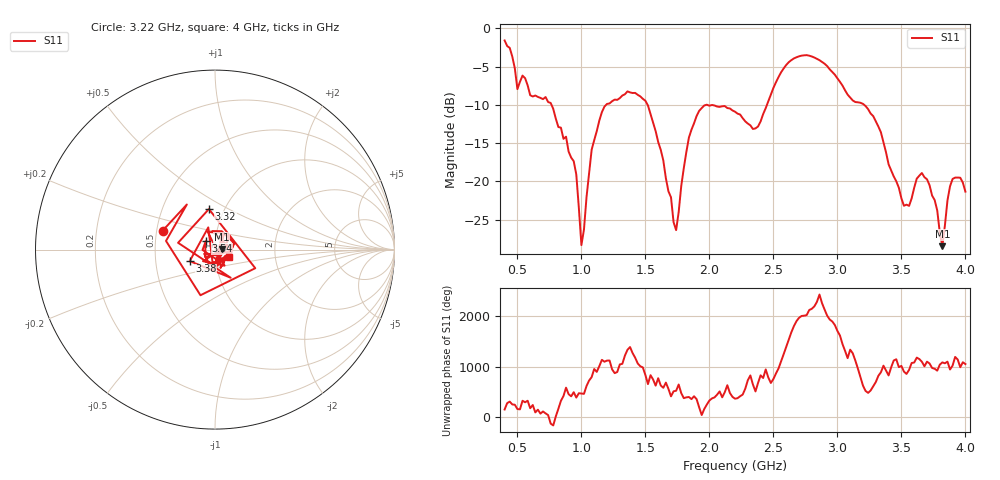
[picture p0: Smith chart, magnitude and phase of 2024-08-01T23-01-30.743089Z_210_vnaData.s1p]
!Created with skrf (http://scikit-rf.org).
# Hz S RI R 50.0
!freq ReS11 ImS11
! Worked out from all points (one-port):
!   181 points, 400 MHz to 4 GHz, reference 50 ohm
!   lowest |S11| = -28.4 dB at 3.82 GHz (marker M1), VSWR 1.08, Z = 53.9 + j0.283 ohm
!   |S11| at or under -10 dB: 1.517 GHz to 1.977 GHz (459.4 MHz wide, 26.3 % of centre); 1.983 GHz to 2.45 GHz (467.1 MHz wide, 21.1 % of centre); 3.209 GHz to end of sweep (the widest 3 of 4)
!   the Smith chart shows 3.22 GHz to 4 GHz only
!   S11 on the Smith chart (normalised r, x): 3.22 GHz: 0.54, +0.12; 3.32 GHz: 0.85, +0.40; 3.38 GHz: 0.75, -0.10; 3.54 GHz: 0.90, +0.09; 4 GHz: 1.16, -0.10
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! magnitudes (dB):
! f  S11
! 400 MHz  -1.6
! 500 MHz  -8.0
! 720 MHz  -9.0
! 860 MHz  -14.4
! 960 MHz  -19.1
! 1 GHz  -28.3
! 1.08 GHz  -15.9
! 1.18 GHz  -10.2
! 1.3 GHz  -9.1
! 1.52 GHz  -10.1
! 1.72 GHz  -25.3
! 1.76 GHz  -24.0
! 1.84 GHz  -14.3
! 1.92 GHz  -10.8
! 2.2 GHz  -10.9
! 2.38 GHz  -12.8
! 2.66 GHz  -3.9
! 3.1 GHz  -9.0
! 3.22 GHz  -10.2
! 3.32 GHz  -12.8
! 3.38 GHz  -16.2
! 3.54 GHz  -23.0
! 3.56 GHz  -23.2
! 3.66 GHz  -18.9
! 3.76 GHz  -22.4
! 3.82 GHz  -28.4
! 3.9 GHz  -19.7
! 4 GHz  -21.3
